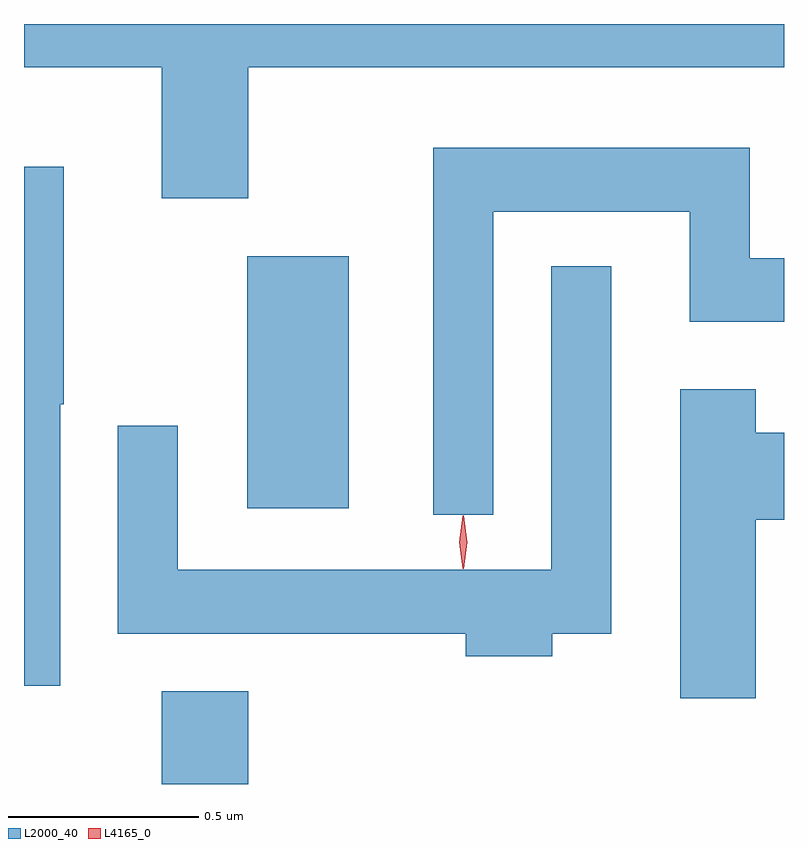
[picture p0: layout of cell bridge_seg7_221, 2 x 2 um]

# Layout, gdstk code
import gdstk
lib = gdstk.Library(unit=1e-6, precision=1e-09)
def R(c, l, rs):  # rectangles x0, y0, x1, y1
    for r in rs: c.add(gdstk.rectangle(r[:2], r[2:], *l))
def P(c, l, *ps):  # polygons
    for p in ps: c.add(gdstk.Polygon(p, *l))
L2000_40 = (2000, 40)
L4165_0 = (4165, 0)

bridge_seg7_221 = lib.new_cell('bridge_seg7_221')
R(bridge_seg7_221, L2000_40, [(1494.871,1707.99,1495.099,1708.234), (1495.096,1708.716,1495.364,1709.379)])
P(bridge_seg7_221, L2000_40, [(1495.099,1709.876),(1496.509,1709.876),(1496.509,1709.99),(1494.509,1709.99),(1494.509,1709.876),(1494.871,1709.876),(1494.871,1709.531),(1495.099,1709.531)],
  [(1495.744,1709.496),(1496.261,1709.496),(1496.261,1709.206),(1496.509,1709.206),(1496.509,1709.374),(1496.419,1709.374),(1496.419,1709.664),(1495.586,1709.664),(1495.586,1708.698),(1495.744,1708.698)],
  [(1494.604,1708.99),(1494.614,1708.99),(1494.614,1709.614),(1494.509,1709.614),(1494.509,1708.248),(1494.604,1708.248)],
  [(1495.899,1708.386),(1496.054,1708.386),(1496.054,1709.353),(1495.896,1709.353),(1495.896,1708.554),(1494.914,1708.554),(1494.914,1708.933),(1494.756,1708.933),(1494.756,1708.386),(1495.671,1708.386),(1495.671,1708.326),(1495.899,1708.326)],
  [(1496.434,1708.686),(1496.509,1708.686),(1496.509,1708.914),(1496.434,1708.914),(1496.434,1709.029),(1496.236,1709.029),(1496.236,1708.216),(1496.434,1708.216)])
P(bridge_seg7_221, L4165_0, [(1495.665,1708.559),(1495.664,1708.56),(1495.655,1708.626),(1495.664,1708.692),(1495.665,1708.693),(1495.665,1708.692),(1495.675,1708.626),(1495.665,1708.56)],
  [(1495.664,1708.557),(1495.655,1708.626),(1495.664,1708.696),(1495.665,1708.696),(1495.666,1708.696),(1495.675,1708.626),(1495.666,1708.557),(1495.665,1708.557)])

lib.write_gds('bridge_seg7_221.gds')
